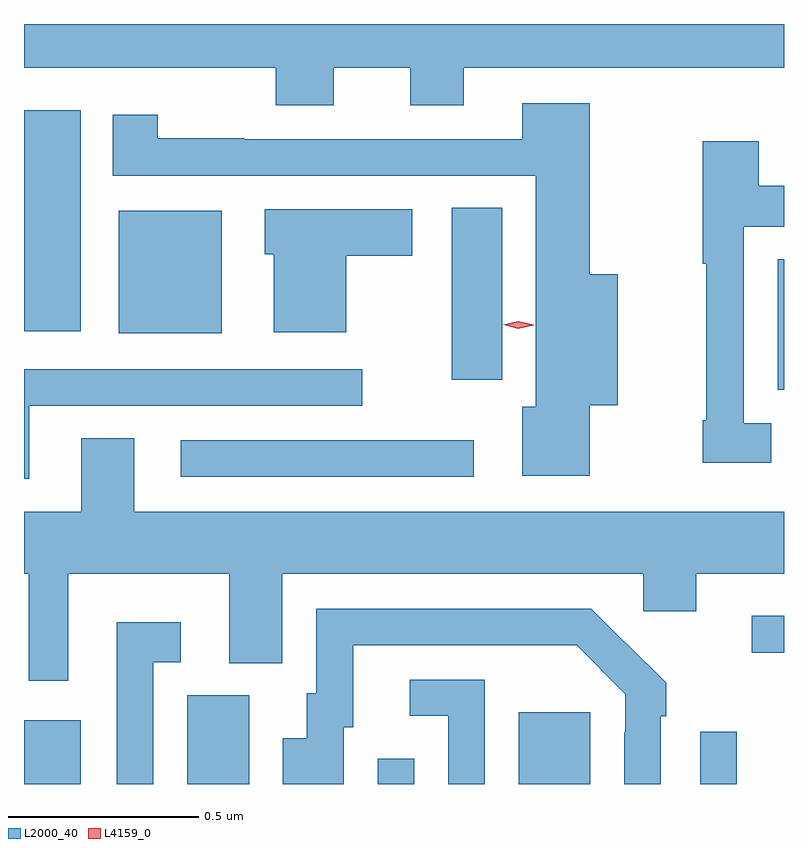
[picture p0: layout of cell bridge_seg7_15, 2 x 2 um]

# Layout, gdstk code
import gdstk
lib = gdstk.Library(unit=1e-6, precision=1e-09)
def R(c, l, rs):  # rectangles x0, y0, x1, y1
    for r in rs: c.add(gdstk.rectangle(r[:2], r[2:], *l))
def P(c, l, *ps):  # polygons
    for p in ps: c.add(gdstk.Polygon(p, *l))
L2000_40 = (2000, 40)
L4159_0 = (4159, 0)

bridge_seg7_15 = lib.new_cell('bridge_seg7_15')
R(bridge_seg7_15, L2000_40, [(1036.241,1045.351,1036.39,1045.519), (1036.67,1045.351,1036.834,1045.584), (1037.172,1045.351,1037.268,1045.417), (1037.543,1045.351,1037.731,1045.54), (1038.021,1045.351,1038.117,1045.489), (1038.156,1045.696,1038.241,1045.794), (1036.653,1046.16,1037.425,1046.256), (1038.224,1046.389,1038.241,1046.732), (1037.366,1046.415,1037.5,1046.867), (1036.49,1046.537,1036.762,1046.86), (1036.241,1046.543,1036.39,1047.124)])
P(bridge_seg7_15, L2000_40, [(1037.056,1047.236),(1037.258,1047.236),(1037.258,1047.137),(1037.398,1047.137),(1037.398,1047.236),(1038.241,1047.236),(1038.241,1047.351),(1036.241,1047.351),(1036.241,1047.236),(1036.904,1047.236),(1036.904,1047.137),(1037.056,1047.137)],
  [(1037.73,1046.348),(1037.803,1046.348),(1037.803,1046.692),(1037.73,1046.692),(1037.73,1047.142),(1037.552,1047.142),(1037.552,1047.048),(1036.82,1047.048),(1036.82,1047.05),(1036.593,1047.05),(1036.593,1047.112),(1036.475,1047.112),(1036.475,1046.952),(1037.588,1046.952),(1037.588,1046.344),(1037.552,1046.344),(1037.552,1046.162),(1037.73,1046.162)],
  [(1038.208,1046.301),(1038.135,1046.301),(1038.135,1046.817),(1038.241,1046.817),(1038.241,1046.926),(1038.175,1046.926),(1038.175,1047.043),(1038.027,1047.043),(1038.027,1046.72),(1038.037,1046.72),(1038.037,1046.308),(1038.027,1046.308),(1038.027,1046.196),(1038.208,1046.196)],
  [(1037.089,1046.741),(1037.263,1046.741),(1037.263,1046.863),(1036.874,1046.863),(1036.874,1046.745),(1036.898,1046.745),(1036.898,1046.54),(1037.089,1046.54)],
  [(1036.255,1046.346),(1037.131,1046.346),(1037.131,1046.442),(1036.241,1046.442),(1036.241,1046.154),(1036.255,1046.154)],
  [(1036.357,1045.904),(1036.781,1045.904),(1036.781,1045.669),(1036.921,1045.669),(1036.921,1045.904),(1037.871,1045.904),(1037.871,1045.806),(1038.01,1045.806),(1038.01,1045.904),(1038.241,1045.904),(1038.241,1046.068),(1036.531,1046.068),(1036.531,1046.261),(1036.391,1046.261),(1036.391,1046.068),(1036.241,1046.068),(1036.241,1045.904),(1036.253,1045.904),(1036.253,1045.623),(1036.357,1045.623)],
  [(1037.083,1045.5),(1037.107,1045.5),(1037.107,1045.716),(1037.695,1045.716),(1037.823,1045.587),(1037.823,1045.487),(1037.82,1045.487),(1037.82,1045.351),(1037.916,1045.351),(1037.916,1045.529),(1037.931,1045.529),(1037.931,1045.617),(1037.826,1045.722),(1037.825,1045.721),(1037.734,1045.812),(1037.01,1045.812),(1037.01,1045.59),(1036.985,1045.59),(1036.985,1045.471),(1036.922,1045.471),(1036.922,1045.351),(1037.083,1045.351)],
  [(1036.581,1045.671),(1036.654,1045.671),(1036.654,1045.777),(1036.485,1045.777),(1036.485,1045.351),(1036.581,1045.351)],
  [(1037.454,1045.626),(1037.256,1045.626),(1037.256,1045.53),(1037.358,1045.53),(1037.358,1045.351),(1037.454,1045.351)])
P(bridge_seg7_15, L4159_0, [(1037.542,1046.549),(1037.502,1046.559),(1037.502,1046.559),(1037.502,1046.56),(1037.542,1046.569),(1037.583,1046.559),(1037.583,1046.559),(1037.583,1046.558)])

lib.write_gds('bridge_seg7_15.gds')
